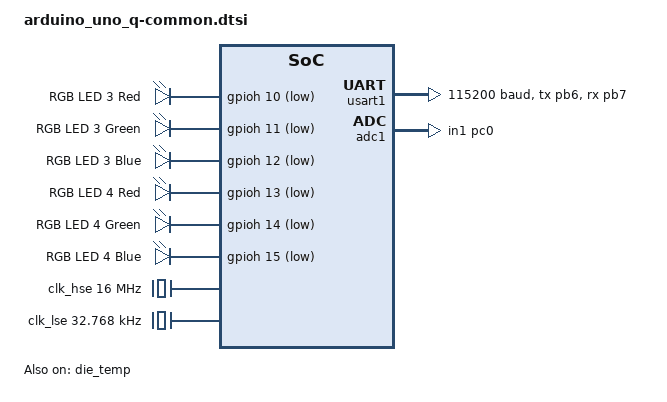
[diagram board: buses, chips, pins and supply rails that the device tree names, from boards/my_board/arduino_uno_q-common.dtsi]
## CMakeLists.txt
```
cmake_minimum_required(VERSION 3.20.0)
list(APPEND BOARD_ROOT ${CMAKE_CURRENT_SOURCE_DIR})
list(APPEND DTS_ROOT ${CMAKE_CURRENT_SOURCE_DIR}/..)
find_package(Zephyr REQUIRED)
project(my_zephyr_app)

target_sources(app PRIVATE src/main.cpp)
add_subdirectory(drivers/our_driver)
```

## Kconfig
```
menuconfig LED_SUBSYSTEM
    bool "LED Subsystem"


    if LED_SUBSYSTEM

        choice
            prompt "LED blink sleep time"
            default BLINK_SLEEP_500MS
            config BLINK_SLEEP_100MS
                bool "Fast (100ms)"
            config BLINK_SLEEP_500MS
                bool "Medium (500ms)"
            config BLINK_SLEEP_2000MS
                bool "Slow (2s)"
        endchoice

        config APP_HEARTBEAT_PERIOD_MS
            int
            range 100 2000
            default 500 if BLINK_SLEEP_500MS
            default 100 if BLINK_SLEEP_100MS
            default 2000 if BLINK_SLEEP_2000MS
            default 500

        menuconfig LED_ADVANCED
            bool "Advanced LED settings"
            if LED_ADVANCED
                config LED_BRIGHTNESS
                    int "LED brightness (0-100)"
                    default 100
                    range 0 100
                config LED_FADE_DURATION_MS
                    int "Fade duration (ms)"
                    default 500
                    range 0 5000
            endif
        menu "Expert settings"
            visible if LED_ADVANCED
            config LED_DEBUG
                bool "Enable LED debugging"
            config CUSTOM_BLINK_PATTERN
                bool "Custom blink pattern"

endmenu

endif   # LED_SUBSYSTEM

source "Kconfig.zephyr"
rsource "drivers/our_driver/Kconfig"
```

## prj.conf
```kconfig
CONFIG_GPIO=y
CONFIG_LOG=y
CONFIG_DEBUG_OPTIMIZATIONS=y

CONFIG_LED_SUBSYSTEM=y
CONFIG_SHELL=y
CONFIG_SENSOR=y
CONFIG_OUR_DRIVER=y
```

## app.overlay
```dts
/ {
    /* Send console/logs to lpuart1, which is wired to the Linux side (/dev/ttyHS1) */
    chosen {
        zephyr,console = &lpuart1;
        zephyr,shell-uart = &lpuart1;
    };

    aliases {
        app-led = &led3_red;
    };

    our_driver0: our_driver {
        compatible = "our,driver";
        status = "okay";
        led-gpios = <&gpioh 14 GPIO_ACTIVE_LOW>; /* RGB LED 4 Green */
    };
    our_driver1: our_driver1 {
        compatible = "our,driver";
        status = "okay";
        led-gpios = <&gpioh 15 GPIO_ACTIVE_LOW>; /* RGB LED 4 Blue */
    };
};
```

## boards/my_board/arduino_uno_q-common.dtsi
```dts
/*
 * Copyright (c) 2021 Linaro Limited
 * Copyright (c) 2024 STMicroelectronics
 * Copyright (c) 2025 Arduino SA
 *
 * SPDX-License-Identifier: Apache-2.0
 */

#include <zephyr/dt-bindings/gpio/gpio.h>

/ {

	leds {
		compatible = "gpio-leds";

		led3_red: led3_red {
			gpios = <&gpioh 10 GPIO_ACTIVE_LOW>;
			label = "RGB LED 3 Red";
		};

		led3_green: led3_green {
			gpios = <&gpioh 11 GPIO_ACTIVE_LOW>;
			label = "RGB LED 3 Green";
		};

		led3_blue: led3_blue {
			gpios = <&gpioh 12 GPIO_ACTIVE_LOW>;
			label = "RGB LED 3 Blue";
		};

		led4_red: led4_red {
			gpios = <&gpioh 13 GPIO_ACTIVE_LOW>;
			label = "RGB LED 4 Red";
		};

		led4_green: led4_green {
			gpios = <&gpioh 14 GPIO_ACTIVE_LOW>;
			label = "RGB LED 4 Green";
		};

		led4_blue: led4_blue {
			gpios = <&gpioh 15 GPIO_ACTIVE_LOW>;
			label = "RGB LED 4 Blue";
		};
	};
};

&clk_hsi48 {
	status = "okay";
};

&clk_hse {
	clock-frequency = <DT_FREQ_M(16)>;
	status = "okay";
};

&clk_lse {
	clock-frequency = <32768>;
	status = "okay";
};

&clk_msis {
	status = "okay";
	msi-range = <4>;
	msi-pll-mode;
};

&pll1 {
	div-m = <1>;
	mul-n = <80>;
	div-q = <2>;
	div-r = <2>;
	clocks = <&clk_msis>;
	status = "okay";
};

&rcc {
	clocks = <&pll1>;
	clock-frequency = <DT_FREQ_M(160)>;
	ahb-prescaler = <1>;
	apb1-prescaler = <1>;
	apb2-prescaler = <1>;
	apb3-prescaler = <1>;
};

&usart1 {
	pinctrl-0 = <&usart1_tx_pb6 &usart1_rx_pb7>;
	pinctrl-names = "default";
	current-speed = <115200>;
	status = "okay";
};

&adc1 {
	pinctrl-0 = <&adc1_in1_pc0>;
	pinctrl-names = "default";
};

&die_temp {
	status = "okay";
};

&gpioh {
	status = "okay";
};
```

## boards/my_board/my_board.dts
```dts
/dts-v1/;
#include <st/u5/stm32u585Xi.dtsi>
#include <st/u5/stm32u585aiixq-pinctrl.dtsi>
#include "arduino_uno_q-common.dtsi"
#include <zephyr/dt-bindings/memory-attr/memory-attr.h>
#include <zephyr/dt-bindings/memory-attr/memory-attr-arm.h>
/ {
	model = "My Board";
	compatible = "arduino,uno_q";

	chosen {
		zephyr,console = &usart1;
		zephyr,shell-uart = &usart1;
		zephyr,sram = &sram0;
		zephyr,flash = &flash0;
		zephyr,code-partition = &slot0_partition;
	};

	aliases {
		led0 = &led3_green;
		led1 = &led3_red;
		die-temp0 = &die_temp;
	};
};

&flash0 {
	partitions {
		ranges;
		#address-cells = <1>;
		#size-cells = <1>;

		/*
		 * Following flash partition is dedicated to the use of stm32u585
		 * with TZEN=0 (so w/o TFM).
		 * Set the partitions with first MB to make use of the whole Bank1
		 */
		boot_partition: partition@0 {
			compatible = "zephyr,mapped-partition";
			label = "mcuboot";
			reg = <0x00000000 DT_SIZE_K(64)>;
		};

		slot0_partition: partition@10000 {
			compatible = "zephyr,mapped-partition";
			label = "image-0";
			reg = <0x00010000 DT_SIZE_K(416)>;
		};

		slot1_partition: partition@78000 {
			compatible = "zephyr,mapped-partition";
			label = "image-1";
			reg = <0x00078000 DT_SIZE_K(416)>;
		};

		storage_partition: partition@e0000 {
			compatible = "zephyr,mapped-partition";
			label = "storage";
			reg = <0x000e0000 DT_SIZE_K(128)>;
		};
	};
};

&gpdma1 {
	status = "okay";
};

&adc1 {
	st,adc-prescaler = <4>;
	status = "okay";
};
```

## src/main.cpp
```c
#include <zephyr/drivers/gpio.h>
#include <zephyr/drivers/sensor.h>
#include <zephyr/kernel.h>
#include <zephyr/logging/log.h>

#include "our_driver.h"

/* The devicetree node identifiers for the aliases */
#define LED_NODE_RED DT_ALIAS(app_led)
#define LED_NODE_BLUE DT_ALIAS(led1)

static const struct gpio_dt_spec led_red = GPIO_DT_SPEC_GET(LED_NODE_RED, gpios);
static const struct gpio_dt_spec led_blue = GPIO_DT_SPEC_GET(LED_NODE_BLUE, gpios);

LOG_MODULE_REGISTER(main, LOG_LEVEL_INF);


namespace {
    // Test my driver
    void test() {
        const struct device* driver = DEVICE_DT_GET(DT_NODELABEL(our_driver0));
        struct sensor_value value;

        // Extension API: change a field in the instance's dynamic data
        our_driver_set_level(driver, 42);

        // Calls sample_fetch_my_impl(driver, SENSOR_CHAN_ALL) -> LED ON
        auto ret = sensor_sample_fetch(driver);
        LOG_INF("Sample fetch returned: %d", ret);
        k_msleep(5000);

        // Calls channel_get_my_impl(driver, SENSOR_CHAN_AMBIENT_TEMP, &value) -> LED OFF
        ret = sensor_channel_get(driver, SENSOR_CHAN_AMBIENT_TEMP, &value);
        LOG_INF("Channel get returned: %d, led: %d, level: %d", ret, value.val1, value.val2);
    }
}

int main(void)
{
    test();
    bool is_red_turn = true;

    /* Check if devices are ready */
    if (!gpio_is_ready_dt(&led_red)) {
        LOG_ERR("Red LED device not ready");
        return 0;
    }
    if (!gpio_is_ready_dt(&led_blue)) {
        LOG_ERR("Blue LED device not ready");
        return 0;
    }

    /* Configure both as outputs, initially OFF (INACTIVE) */
    if (gpio_pin_configure_dt(&led_red, GPIO_OUTPUT_INACTIVE) < 0) return 0;
    if (gpio_pin_configure_dt(&led_blue, GPIO_OUTPUT_INACTIVE) < 0) return 0;

    LOG_INF("Starting alternating blink loop...");

    while (1) {
        if (is_red_turn) {
            /* Set Red ACTIVE (1) and Blue INACTIVE (0) */
            gpio_pin_set_dt(&led_red, 1);
            gpio_pin_set_dt(&led_blue, 0);
            LOG_INF("LED state: RED is ON, BLUE is OFF");
        } else {
            /* Set Red INACTIVE (0) and Blue ACTIVE (1) */
            gpio_pin_set_dt(&led_red, 0);
            gpio_pin_set_dt(&led_blue, 1);
            LOG_INF("LED state: RED is OFF, BLUE is ON");
        }

        /* Swap turns for the next loop iteration */
        is_red_turn = !is_red_turn;
        
        k_msleep(CONFIG_APP_HEARTBEAT_PERIOD_MS);
    }
    return 0;
}
```
